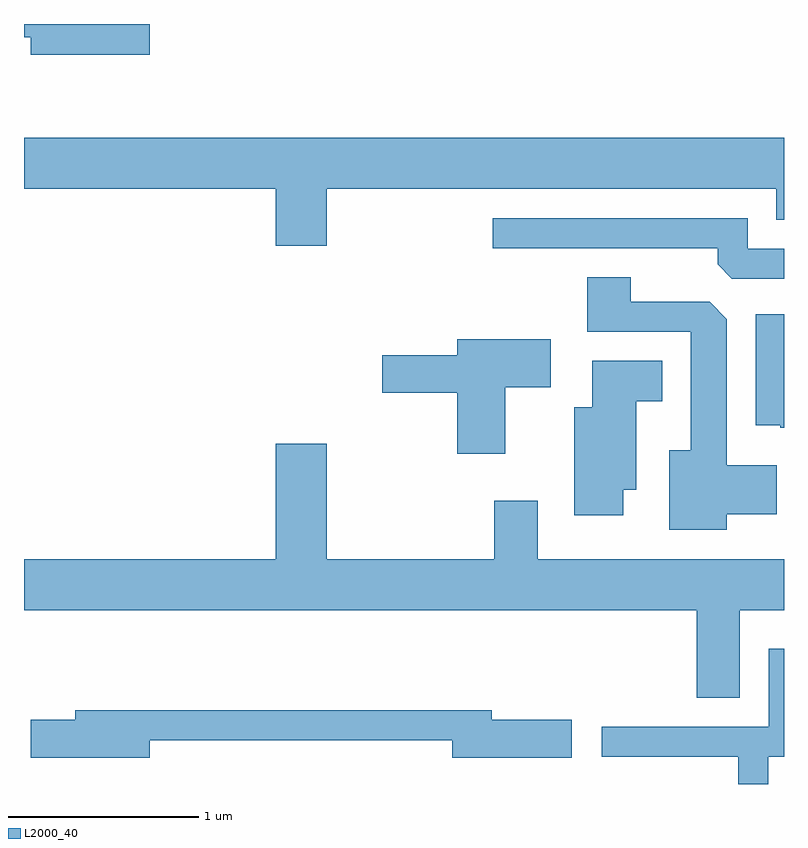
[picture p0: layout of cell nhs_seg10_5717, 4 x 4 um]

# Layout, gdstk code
import gdstk
lib = gdstk.Library(unit=1e-6, precision=1e-09)
def P(c, l, *ps):  # polygons
    for p in ps: c.add(gdstk.Polygon(p, *l))
L2000_40 = (2000, 40)

nhs_seg10_5717 = lib.new_cell('nhs_seg10_5717')
P(nhs_seg10_5717, L2000_40, [(354.274,2152.522),(353.611,2152.522),(353.611,2152.451),(353.646,2152.451),(353.646,2152.361),(354.274,2152.361)],
  [(355.204,2151.656),(357.571,2151.656),(357.571,2151.491),(357.611,2151.491),(357.611,2151.924),(353.611,2151.924),(353.611,2151.656),(354.936,2151.656),(354.936,2151.356),(355.204,2151.356)],
  [(357.611,2151.339),(357.419,2151.339),(357.419,2151.499),(356.078,2151.499),(356.078,2151.341),(357.261,2151.341),(357.261,2151.257),(357.337,2151.181),(357.611,2151.181)],
  [(357.309,2149.941),(357.574,2149.941),(357.574,2150.199),(357.309,2150.199),(357.309,2150.969),(357.219,2151.059),(356.804,2151.059),(356.804,2151.189),(356.576,2151.189),(356.576,2150.901),(357.121,2150.901),(357.121,2150.279),(357.006,2150.279),(357.006,2149.861),(357.309,2149.861)],
  [(357.611,2150.994),(357.461,2150.994),(357.461,2150.411),(357.59,2150.411),(357.59,2150.396),(357.611,2150.396)],
  [(356.144,2150.611),(356.384,2150.611),(356.384,2150.864),(355.891,2150.864),(355.891,2150.779),(355.496,2150.779),(355.496,2150.581),(355.891,2150.581),(355.891,2150.261),(356.144,2150.261)],
  [(356.764,2150.071),(356.834,2150.071),(356.834,2150.536),(356.969,2150.536),(356.969,2150.749),(356.601,2150.749),(356.601,2150.504),(356.506,2150.504),(356.506,2149.936),(356.764,2149.936)],
  [(357.379,2149.436),(357.611,2149.436),(357.611,2149.704),(356.314,2149.704),(356.314,2150.014),(356.086,2150.014),(356.086,2149.704),(355.204,2149.704),(355.204,2150.314),(354.936,2150.314),(354.936,2149.704),(353.611,2149.704),(353.611,2149.436),(357.151,2149.436),(357.151,2148.976),(357.379,2148.976)],
  [(357.529,2148.666),(357.611,2148.666),(357.611,2149.234),(357.531,2149.234),(357.531,2148.824),(356.653,2148.824),(356.653,2148.666),(357.371,2148.666),(357.371,2148.522),(357.529,2148.522)],
  [(354.274,2148.751),(355.866,2148.751),(355.866,2148.661),(356.494,2148.661),(356.494,2148.859),(356.074,2148.859),(356.074,2148.909),(353.881,2148.909),(353.881,2148.859),(353.646,2148.859),(353.646,2148.661),(354.274,2148.661)])

lib.write_gds('nhs_seg10_5717.gds')
